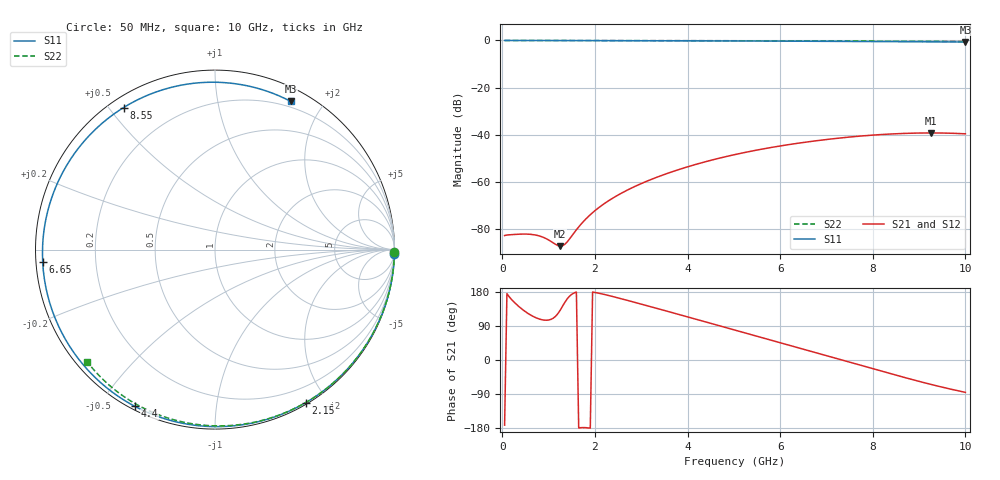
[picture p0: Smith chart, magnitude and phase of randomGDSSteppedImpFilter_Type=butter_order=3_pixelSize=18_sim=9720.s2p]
! freq	dB(S11)	phase(S11)	dB(S12)	phase(S12)
!  dB(S21)	phase(S21)	dB(S22)	phase(S22)
!S-par simulation data
#  GHz  S  DB  R 50
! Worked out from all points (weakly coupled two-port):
!   200 points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, 50 MHz to 10 GHz, reference 50 ohm
!   highest |S21| = -39.24 dB at 9.25 GHz (marker M1); lowest = -87.3 dB at 1.25 GHz (marker M2)
!   lowest |S11| = -0.7 dB at 10 GHz (marker M3), VSWR 26.48, Z = 6.9 + j81.2 ohm
!   |S11| at or under -10 dB: nowhere
!   |S22| runs from -0.5 to 0.0 dB; largest |S21 - S12| = 0
!   S11 on the Smith chart (normalised r, x): 50 MHz: 0, -81; 2.15 GHz: 0.02, -1.76; 4.4 GHz: 0.01, -0.61; 6.65 GHz: 0.02, -0.04; 8.55 GHz: 0.04, +0.55; 10 GHz: 0.14, +1.62
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0.05  -0.00 -1.4  -82.78 -171.8  -82.78 -171.8  -0.00 -0.8
0.65  -0.02 -18.3  -82.34 116.0  -82.34 116.0  -0.01 -10.4
1.25  -0.04 -35.0  -87.29 131.3  -87.29 131.3  -0.02 -19.9
1.6  -0.06 -44.5  -80.33 179.3  -80.33 179.3  -0.03 -25.4
1.75  -0.06 -48.6  -76.86 -178.3  -76.86 -178.3  -0.04 -27.7
2.15  -0.08 -59.3  -69.96 174.5  -69.96 174.5  -0.04 -33.9
2.7  -0.09 -73.8  -63.49 157.4  -63.49 157.4  -0.05 -42.2
3.4  -0.12 -91.8  -57.57 134.1  -57.57 134.1  -0.07 -52.7
4.4  -0.17 -117.1  -51.39 100.2  -51.39 100.2  -0.10 -67.1
5.05  -0.21 -133.5  -48.30 77.9  -48.30 77.9  -0.12 -76.1
5.9  -0.27 -155.4  -45.09 48.7  -45.09 48.7  -0.15 -87.6
6.65  -0.33 -175.9  -42.89 23.2  -42.89 23.2  -0.19 -97.4
6.7  -0.34 -177.3  -42.76 21.5  -42.76 21.5  -0.19 -98.0
7.15  -0.38 169.5  -41.69 6.2  -41.69 6.2  -0.22 -103.8
7.55  -0.42 157.2  -40.89 -7.5  -40.89 -7.5  -0.24 -108.8
7.95  -0.46 144.1  -40.23 -21.2  -40.23 -21.2  -0.27 -113.8
8.35  -0.51 130.1  -39.73 -34.9  -39.73 -34.9  -0.30 -118.7
8.55  -0.53 122.7  -39.54 -41.6  -39.54 -41.6  -0.32 -121.2
8.9  -0.56 109.3  -39.32 -53.2  -39.32 -53.2  -0.35 -125.4
9.25  -0.60 95.2  -39.24 -64.2  -39.24 -64.2  -0.39 -129.7
9.65  -0.63 78.3  -39.35 -76.0  -39.35 -76.0  -0.43 -134.5
10  -0.66 63.0  -39.61 -85.4  -39.61 -85.4  -0.47 -138.7
